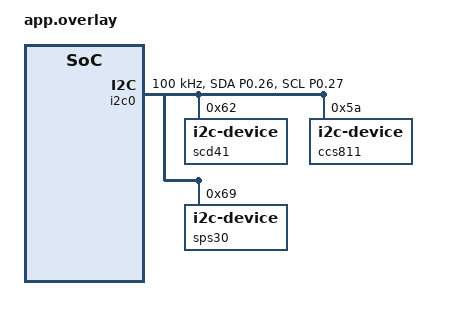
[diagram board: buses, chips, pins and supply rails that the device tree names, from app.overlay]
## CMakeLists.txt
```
cmake_minimum_required(VERSION 3.20.0)

# ---------------------------------------------------------------------------
# Devicetree Overlay
# ---------------------------------------------------------------------------
# Explicitly tell Zephyr to use our overlay file so it doesn't get lost
# when building with namespaced board targets like nrf52840dk/nrf52840
set(DTC_OVERLAY_FILE ${CMAKE_CURRENT_SOURCE_DIR}/app.overlay)

find_package(Zephyr REQUIRED HINTS $ENV{ZEPHYR_BASE})
project(ssns_sensor_node)

# ---------------------------------------------------------------------------
# Core sources — always compiled regardless of sensor mode
# ---------------------------------------------------------------------------
target_sources(app PRIVATE
    src/main.c
    src/network.c
    src/storage.c
)

# NOTE: src/sensors.c (old monolithic simulation) is intentionally NOT listed
# here. It is kept on disk for reference only. The new sensor_sim.c replaces
# it. If both were compiled, there would be duplicate symbol linker errors.

# ---------------------------------------------------------------------------
# Sensor backend — only one mode is compiled at a time
# ---------------------------------------------------------------------------
target_sources_ifdef(CONFIG_SENSOR_MODE_SIMULATION app PRIVATE
    src/sensors/sensor_sim.c
)

target_sources_ifdef(CONFIG_SENSOR_MODE_HARDWARE app PRIVATE
    src/sensors/sensor_hw.c
    src/sensors/sensor_aggregator.c
)

# ---------------------------------------------------------------------------
# Hardware drivers — only compiled when their sensor is enabled
# ---------------------------------------------------------------------------
target_sources_ifdef(CONFIG_SENSOR_SCD41  app PRIVATE
    src/sensors/drivers/scd41_driver.c
)

target_sources_ifdef(CONFIG_SENSOR_CCS811 app PRIVATE
    src/sensors/drivers/ccs811_driver.c
)

target_sources_ifdef(CONFIG_SENSOR_SPS30  app PRIVATE
    src/sensors/drivers/sps30_driver.c
)

# ---------------------------------------------------------------------------
# Include paths
# ---------------------------------------------------------------------------
# src/            — for network.h, storage.h (they include sensors/sensor_interface.h)
# src/sensors/    — for sensor_interface.h, sensor_aggregator.h
# (drivers use #include "sensor_interface.h" via src/sensors/ path)
target_include_directories(app PRIVATE
    src
    src/sensors
    src/sensors/drivers
)
```

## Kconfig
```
# SPDX-License-Identifier: Apache-2.0
#
# SSNS Sensor Node — Kconfig
#
# Compile-time selection between simulation and real hardware sensors.
# This mirrors the Spring Boot "profile" concept: change the build flag,
# get a completely different sensor backend with zero runtime overhead.
#
# Build commands:
#   Simulation (default, no hardware needed):
#     west build -p always -b nrf52840dk/nrf52840
#
#   Real hardware (SCD41 + CCS811 + SPS30):
#     west build -p always -b nrf52840dk/nrf52840 \
#       -- -DCONFIG_SENSOR_MODE_HARDWARE=y \
#          -DEXTRA_CONF_FILE=prj_hw.conf

mainmenu "SSNS Sensor Node Configuration"

# ---------------------------------------------------------------------------
# Sensor Mode Selection
# ---------------------------------------------------------------------------

choice SENSOR_MODE
	prompt "Sensor Data Source"
	default SENSOR_MODE_SIMULATION
	help
	  Select the sensor data acquisition backend.

	  Simulation mode runs without any physical hardware and is always
	  safe to use during development, CI, or demonstrations.

	  Hardware mode reads real I2C sensors (SCD41, CCS811, SPS30)
	  connected to the nRF52840 DK. The boards/*.overlay file must
	  match your actual wiring.

config SENSOR_MODE_SIMULATION
	bool "Simulation Mode"
	help
	  Realistic random-walk simulation:
	    - Baseline drift for all channels
	    - CO2 and PM2.5 spike trend events (1% chance per cycle)
	    - 15% per-sensor failure injection with health mask updates
	    - Authentic blocking latencies (100ms Temp, 10s CO2, 1s PM/TVOC)
	  No I2C hardware required.

config SENSOR_MODE_HARDWARE
	bool "Hardware Mode (SCD41 + CCS811 + SPS30)"
	select I2C
	select SENSOR
	help
	  Read real I2C sensors:
	    - SCD41:  CO2, Temperature, Humidity (0x62)
	    - CCS811: eCO2, TVOC              (0x5A or 0x5B)
	    - SPS30:  PM1.0/2.5/4.0/10.0     (0x69)

	  Background polling threads keep the sensor cache fresh so that
	  sensor_backend_read() returns instantly without blocking.

	  Requires boards/nrf52840dk_nrf52840.overlay for I2C pin config.
	  Run alongside prj_hw.conf for Kconfig driver enables.

endchoice

# ---------------------------------------------------------------------------
# Hardware-only settings (invisible in simulation mode)
# ---------------------------------------------------------------------------

if SENSOR_MODE_HARDWARE

config SENSOR_SCD41
    bool "Enable SCD41 CO2/Temp/Hum Sensor"
    default y
    depends on SENSOR_MODE_HARDWARE
    help
      Enables the custom raw I2C driver for SCD41.

config SENSOR_CCS811
    bool "Enable CCS811 Air Quality Sensor"
    default y
    depends on SENSOR_MODE_HARDWARE
    help
      Enables the custom raw I2C driver for TVOC and eCO2.

config SENSOR_CCS811_WARMUP_SECONDS
	int "CCS811 warm-up period (seconds)"
	default 1200
	range 60 3600
	depends on SENSOR_CCS811
	help
	  How long after boot to discard CCS811 readings as unreliable.
	  AMS datasheet: 20 minutes (1200 s) per power cycle.
	  During warm-up the health bit stays 0 and values are -999.

config SENSOR_SPS30
	bool "Enable SPS30 (PM1.0 / PM2.5 / PM4.0 / PM10)"
	default y
	help
	  Sensirion SPS30 laser particulate matter sensor.
	  I2C address: 0x69.  Measurement interval: 1 second.
	  Auto fan-cleaning every 168 h causes a 10 s data blackout;
	  the driver holds the last good reading during this window.

# ---------------------------------------------------------------------------
# Aggregator polling thread stacks
# ---------------------------------------------------------------------------

config SENSOR_AGGREGATOR_SCD41_STACK
	int "SCD41 polling thread stack (bytes)"
	default 1536
	range 1024 4096
	help
	  Stack for the background SCD41 I2C polling thread.
	  Increase to 2048 if debug logging is enabled.

config SENSOR_AGGREGATOR_CCS811_STACK
	int "CCS811 polling thread stack (bytes)"
	default 1536
	range 1024 4096
	depends on SENSOR_CCS811

config SENSOR_AGGREGATOR_SPS30_STACK
	int "SPS30 polling thread stack (bytes)"
	default 1536
	range 1024 4096
	depends on SENSOR_SPS30

endif # SENSOR_MODE_HARDWARE

source "Kconfig.zephyr"
```

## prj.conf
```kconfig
# Logging & Shell
CONFIG_LOG=y
CONFIG_LOG_DEFAULT_LEVEL=3
CONFIG_SHELL=y
CONFIG_OPENTHREAD_SHELL=y

# OpenThread Network Configuration
CONFIG_NETWORKING=y
CONFIG_NET_L2_OPENTHREAD=y
CONFIG_OPENTHREAD_MANUAL_START=n
CONFIG_OPENTHREAD_NETWORK_NAME="WSN01"
CONFIG_OPENTHREAD_PANID=4661
CONFIG_OPENTHREAD_XPANID="1111111122222222"
CONFIG_OPENTHREAD_CHANNEL=15
CONFIG_OPENTHREAD_NETWORKKEY="112233445566778899aabbccddeeff00"
# Allow sensor nodes to act as Routers (Full Thread Devices).
# This enables the Thread Leader to promote sensors to Router role,
# allowing them to relay packets for each other and form a true mesh.
# CONFIG_OPENTHREAD_MTD is explicitly omitted.

# Enable IPv6
CONFIG_NET_IPV6=y
CONFIG_NET_IPV6_ND=y
CONFIG_NET_IPV6_NBR_CACHE=y

# CoAP Protocol Stack
CONFIG_COAP=y
CONFIG_NET_UDP=y
CONFIG_NET_SOCKETS=y
CONFIG_NET_SOCKETS_POSIX_NAMES=y


# Increase heap for JSON formatting
CONFIG_HEAP_MEM_POOL_SIZE=2048

# FPU (for float math)
CONFIG_FPU=y
CONFIG_CBPRINTF_FP_SUPPORT=y

# Hardware RNG (for realistic sensor drift)
CONFIG_ENTROPY_GENERATOR=y

# Non-Volatile Storage (NVS) & Settings
CONFIG_FLASH=y
CONFIG_FLASH_PAGE_LAYOUT=y
CONFIG_NVS=y
CONFIG_MPU_ALLOW_FLASH_WRITE=y
CONFIG_SETTINGS=y
CONFIG_SETTINGS_RUNTIME=y

# Increase Stack Sizes (Prevent MPU Faults)
CONFIG_MAIN_STACK_SIZE=4096
CONFIG_SYSTEM_WORKQUEUE_STACK_SIZE=4096

# CBOR Encoding
CONFIG_ZCBOR=y

# ==============================================================================
# SENSOR MODE SWITCH
# ==============================================================================
# By default, the firmware builds in SIMULATION mode (no hardware required).
# To build for REAL HARDWARE, uncomment all the lines in the block below.
# (If you prefer not to edit this file, you can instead build from the command line:
#  west build -p always -b nrf52840dk/nrf52840 -- -DCONFIG_SENSOR_MODE_HARDWARE=y -DEXTRA_CONF_FILE=prj_hw.conf)

# --- Hardware Mode Block ---
CONFIG_SENSOR_MODE_HARDWARE=y
CONFIG_I2C=y
CONFIG_SENSOR=y
CONFIG_MAIN_STACK_SIZE=6144
CONFIG_SYSTEM_WORKQUEUE_STACK_SIZE=4096
CONFIG_I2C_SHELL=y
```

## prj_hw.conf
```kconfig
# Hardware Sensor Mode — Additional Kconfig
#
# Include this file alongside prj.conf when building in hardware mode.
# It activates the I2C subsystem and the three upstream Zephyr sensor drivers.
# Keeping these separate from prj.conf ensures simulation builds remain clean
# (no I2C subsystem, no sensor drivers, no devicetree requirements).
#
# Build command (hardware mode):
#   west build -p always -b nrf52840dk/nrf52840 \
#     -- -DCONFIG_SENSOR_MODE_HARDWARE=y \
#        -DEXTRA_CONF_FILE=prj_hw.conf
#
# Build command (simulation mode, default):
#   west build -p always -b nrf52840dk/nrf52840

# I2C bus subsystem
CONFIG_I2C=y

# Zephyr sensor subsystem (enables sensor_sample_fetch / sensor_channel_get)
CONFIG_SENSOR=y

# Sensirion SCD4x upstream driver (handles SCD40, SCD41, SCD42, SCD43, SCD44)
# Manages periodic measurement, CRC-8 validation, and channel decoding.
CONFIG_SCD4X=y

# AMS CCS811 upstream driver (handles nWAKE GPIO if wake-gpios in DTS)
# Runs in Mode 1 (1 measurement/second).
CONFIG_CCS811=y

# Sensirion SPS30 upstream driver
# Handles start/stop measurement, data-ready polling, and PM channel decoding.
CONFIG_SPS30=y

# Larger main stack for hardware mode
# (sensor driver init + aggregator thread startup needs more headroom)
CONFIG_MAIN_STACK_SIZE=6144
CONFIG_SYSTEM_WORKQUEUE_STACK_SIZE=4096
```

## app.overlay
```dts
/*
 * nRF52840 DK I2C Sensor Overlay — SSNS Sensor Node
 *
 * Sensors on I2C bus 0 (i2c0):
 *   SCD41  @ 0x62 — CO2, Temperature, Humidity
 *   CCS811 @ 0x5A — eCO2, TVOC
 *   SPS30  @ 0x69 — PM1.0, PM2.5, PM4.0, PM10
 *
 * Default I2C pins: P0.26 (SDA), P0.27 (SCL)
 * To use different pins: change the port/pin numbers in NRF_PSEL macros.
 *   NRF_PSEL(TWIM_SDA, port, pin)
 *   NRF_PSEL(TWIM_SCL, port, pin)
 *
 * Pull-ups:
 *   bias-pull-up enables the nRF52840's internal ~13 kΩ pull-ups as a
 *   fallback. For reliable 400 kHz operation, add external 4.7 kΩ resistors.
 *   At 100 kHz (STANDARD mode) the internal pull-ups are usually sufficient.
 *
 * CCS811 nWAKE GPIO:
 *   If your CCS811 module does NOT have nWAKE permanently tied to GND:
 *     1. Wire a GPIO (e.g. P0.03) to the CCS811 nWAKE pin.
 *     2. Uncomment the wake-gpios line in the ccs811 node below.
 *     3. Change pin 3 to match your actual wiring.
 *     4. Set CONFIG_SENSOR_CCS811_WAKE_GPIO=y in prj_hw.conf.
 *   The Zephyr CCS811 driver then handles GPIO toggling automatically.
 *
 *   If your breakout already ties nWAKE to GND (SparkFun, Adafruit),
 *   leave the wake-gpios line commented — no GPIO wiring needed.
 *
 * NOTE: This file uses the modern pinctrl system (NCS 2.x / Zephyr 3.x).
 * The legacy sda-pin / scl-pin properties are NOT used — they were
 * removed in NCS 2.0 and cause build errors.
 */

/* ---- Pin Control --------------------------------------------------------- */

&pinctrl {
	i2c0_default: i2c0_default {
		group1 {
			psels = <NRF_PSEL(TWIM_SDA, 0, 26)>,  /* P0.26 — SDA */
				<NRF_PSEL(TWIM_SCL, 0, 27)>;  /* P0.27 — SCL */
			bias-pull-up;
		};
	};

	i2c0_sleep: i2c0_sleep {
		group1 {
			psels = <NRF_PSEL(TWIM_SDA, 0, 26)>,
				<NRF_PSEL(TWIM_SCL, 0, 27)>;
			low-power-enable;
		};
	};
};

/* ---- I2C Bus ------------------------------------------------------------- */

&i2c0 {
	status = "okay";
	pinctrl-0 = <&i2c0_default>;
	pinctrl-1 = <&i2c0_sleep>;
	pinctrl-names = "default", "sleep";
	clock-frequency = <I2C_BITRATE_STANDARD>;  /* 100 kHz — reliable for all three sensors */

	/* ---- Sensirion SCD41 — CO2 / Temperature / Humidity --------------- */
	scd41: scd41@62 {
		compatible = "i2c-device";
		reg = <0x62>;
		/* No additional properties needed — SCD41 address is fixed */
	};

	/* ---- AMS CCS811 — eCO2 / TVOC ------------------------------------- */
	ccs811: ccs811@5a {
		compatible = "i2c-device";
		reg = <0x5a>;   /* Change to 0x5b if ADDR pin is pulled HIGH */
	};

	/* ---- Sensirion SPS30 — Particulate Matter ------------------------- */
	sps30: sps30@69 {
		compatible = "i2c-device";
		reg = <0x69>;
		/* No additional properties needed */
	};
};
```

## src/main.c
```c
#include <zephyr/kernel.h>
#include <zephyr/logging/log.h>
#include "sensors/sensor_interface.h"
#include "network.h"
#include "storage.h"

LOG_MODULE_REGISTER(main, LOG_LEVEL_INF);

/* Phase 2: Batch transmission configuration */
#define SAMPLE_INTERVAL_MS  6000   /* 6 seconds - respects SCD41 5.5s minimum */
#define TRANSMIT_INTERVAL_MS 30000 /* 30 seconds - batch of 5 samples */
#define BATCH_SIZE 5

/* Sample buffer for batch transmission */
static struct sensor_readings sample_buffer[BATCH_SIZE];
static uint32_t sample_timestamps[BATCH_SIZE];  /* Store actual timestamp for each sample */
static uint8_t sample_count = 0;
static int64_t last_sample_time = 0;
static int64_t last_transmit_time = 0;

int main(void)
{
    LOG_INF("Starting SSNS Sensor Node");

#ifdef CONFIG_SENSOR_MODE_SIMULATION
    LOG_INF("Sensor mode: SIMULATION (no hardware required)");
    LOG_INF("To switch to real sensors:");
    LOG_INF("  west build -p always -b nrf52840dk/nrf52840");
    LOG_INF("    -- -DCONFIG_SENSOR_MODE_HARDWARE=y");
    LOG_INF("       -DEXTRA_CONF_FILE=prj_hw.conf");
#else
    LOG_INF("Sensor mode: HARDWARE (SCD41 + CCS811 + SPS30)");
#endif

    storage_init();
    network_init();

    /* Initialise the sensor backend (simulation or hardware). */
    struct sensor_context *sensor_ctx = NULL;
    int rc = sensor_backend_init(&sensor_ctx);

    if (rc < 0) {
        LOG_ERR("FATAL: Sensor backend init failed (rc=%d). Halting.", rc);
        return -1;
    }

    /* Allow OpenThread to attach and sensors to warm up. */
    k_sleep(K_SECONDS(5));

    int consecutive_failures = 0;

    while (1) {
        /* ----------------------------------------------------------------
         * High Integrity: Silent Start (60 s warm-up)
         * In hardware mode the sensor aggregator threads start filling the
         * cache immediately, so this window guarantees fresh data before
         * the first CoAP transmission.
         * ---------------------------------------------------------------- */
        uint32_t uptime_ms = k_uptime_get_32();
        if (uptime_ms < 60000) {
            LOG_INF("System warming up... (%u/60s)", uptime_ms / 1000);
            k_sleep(K_SECONDS(10));
            continue;
        }

        int64_t current_time = k_uptime_get();

        /* ----------------------------------------------------------------
         * Phase 2: Sample every 6 seconds
         * ---------------------------------------------------------------- */
        if ((current_time - last_sample_time) >= SAMPLE_INTERVAL_MS) {
            /* 1. Read sensors */
            struct sensor_readings readings;
            sensor_backend_read(sensor_ctx, &readings);

            /* 2. Store sample in buffer with actual timestamp */
            if (sample_count < BATCH_SIZE) {
                sample_buffer[sample_count] = readings;
                sample_timestamps[sample_count] = k_uptime_get_32();  /* Capture actual timestamp */
                sample_count++;
                LOG_DBG("Sample %d/%d collected | Health: 0x%02x",
                        sample_count, BATCH_SIZE, readings.health_mask);
            }

            last_sample_time = current_time;
        }

        /* ----------------------------------------------------------------
         * Phase 2: Transmit batch every 30 seconds (or when buffer full)
         * ---------------------------------------------------------------- */
        bool should_transmit = (sample_count >= BATCH_SIZE) ||
                               ((current_time - last_transmit_time) >= TRANSMIT_INTERVAL_MS && sample_count > 0);

        if (should_transmit) {
            /* Phase 3: Always encode batch first (needed for both send and store) */
            rc = network_encode_coap_batch(sample_buffer, sample_timestamps, sample_count);
            if (rc != 0) {
                LOG_ERR("Failed to encode batch, skipping transmission");
                sample_count = 0;
                last_transmit_time = current_time;
                k_sleep(K_SECONDS(1));
                continue;
            }
            
            /* Phase 3: Always attempt transmission to detect gateway recovery */
            LOG_INF("Transmitting batch of %d samples...", sample_count);
            rc = network_send_coap_batch(sample_buffer, sample_timestamps, sample_count);

            if (rc < 0) {
                consecutive_failures++;
                LOG_WRN("Batch transmission failed (%d/3). Saving to RAM queue...",
                        consecutive_failures);
                storage_save_packet(network_get_last_payload(),
                                    network_get_last_payload_len());

                if (consecutive_failures >= 3) {
                    network_reset_stack();
                    consecutive_failures = 0;
                }

            } else if (rc == 0) {
                consecutive_failures = 0;
                LOG_INF("Batch sent successfully!");

                /* Phase 3: Forward all stored packets when gateway is back online */
                int queue_size = storage_get_queue_usage();
                if (queue_size > 0) {
                    LOG_INF("Gateway online, forwarding %d stored packets...", queue_size);
                    int forwarded = storage_forward_all_packets();
                    LOG_INF("Forwarded %d packets from storage", forwarded);
                }
            }

            LOG_INF("Offline Queue: %d / %d packets | Batch sent: %d samples",
                    storage_get_queue_usage(),
                    storage_get_queue_capacity(),
                    sample_count);

            /* Reset batch buffer */
            sample_count = 0;
            last_transmit_time = current_time;
        }

        /* Sleep for 1 second to check timing conditions frequently */
        k_sleep(K_SECONDS(1));
    }

    return 0;
}
```

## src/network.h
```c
#ifndef NETWORK_H
#define NETWORK_H

#include <stdbool.h>
#include <stddef.h>
#include <stdint.h>

/*
 * network.h depends on sensor_interface.h for the sensor_readings struct.
 * Both simulation and hardware backends produce the same struct, so the
 * network layer is completely independent of the sensor implementation.
 */
#include "sensors/sensor_interface.h"

/**
 * @brief Initialise the OpenThread networking subsystem.
 * Injects the hardcoded dataset (year-2033 timestamp), resolves node/boot IDs,
 * and opens the UDP socket bound to the gateway IPv6 address.
 * @return 0 on success, negative error code on failure.
 */
int network_init(void);

/**
 * @brief Encode @p r into a CBOR array payload and send it via CoAP/UDP.
 * Waits up to 5 seconds for a CoAP ACK from the gateway.
 * On success, the encoded payload is stored internally for NVS save-on-failure.
 * @param r  Sensor readings (from either simulation or hardware backend).
 * @return 0 on ACK received, -ETIMEDOUT if no ACK, negative errno on send error.
 */
int network_send_coap(const struct sensor_readings *r);

/**
 * @brief Encode a batch of sensor readings into CBOR payload (without sending).
 * Phase 3: Used for offline storage - encodes batch into internal buffer.
 * @param samples     Array of sensor readings.
 * @param timestamps  Array of actual timestamps (ms) for each sample.
 * @param count       Number of samples in the batch (1-5).
 * @return 0 on success, negative errno on encoding failure.
 */
int network_encode_coap_batch(const struct sensor_readings *samples, const uint32_t *timestamps, uint8_t count);

/**
 * @brief Encode a batch of sensor readings into a CBOR payload and send via CoAP/UDP.
 * Phase 2: Batch transmission - sends multiple samples in a single packet.
 * Waits up to 5 seconds for a CoAP ACK from the gateway.
 * @param samples     Array of sensor readings.
 * @param timestamps  Array of actual timestamps (ms) for each sample.
 * @param count       Number of samples in the batch (1-5).
 * @return 0 on ACK received, -ETIMEDOUT if no ACK, negative errno on send error.
 */
int network_send_coap_batch(const struct sensor_readings *samples, const uint32_t *timestamps, uint8_t count);

/**
 * @brief Re-send a raw binary CBOR payload from the NVS offline queue.
 * Used to drain buffered packets when network connectivity is restored.
 * @param payload  Binary CBOR array bytes.
 * @param len      Payload size.
 * @return 0 on ACK received, negative errno on failure.
 */
int network_send_raw_payload(const uint8_t *payload, size_t len);

/**
 * @brief Force-restart the Thread radio stack to trigger a new Parent Search.
 * Called after 3 consecutive transmission failures.
 */
void network_reset_stack(void);

/**
 * @brief Get the last CBOR payload that was encoded by network_send_coap().
 * Used by main.c to save the payload to the NVS queue on ACK timeout.
 * @return Pointer to internal static payload buffer.
 */
const uint8_t *network_get_last_payload(void);

/**
 * @brief Get the byte length of the last encoded CBOR payload.
 * @return Size in bytes.
 */
size_t network_get_last_payload_len(void);

/**
 * @brief Check if the gateway is currently reachable.
 * Phase 3: Gateway connectivity tracking based on recent send success/failures.
 * @return true if gateway is online, false if offline (3+ consecutive failures).
 */
bool network_is_gateway_reachable(void);

#endif /* NETWORK_H */
```

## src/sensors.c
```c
#include "sensors.h"
#include <zephyr/kernel.h>
#include <zephyr/random/random.h>
#include <stdint.h>

/**
 * Return a pseudo-random float in [lo, hi].
 * Uses Zephyr's sys_rand32_get() seeded from the hardware RNG.
 */
static float rand_float(float lo, float hi)
{
    uint32_t r = sys_rand32_get();
    float normalised = (float)r / (float)UINT32_MAX;   /* 0.0 – 1.0 */
    return lo + normalised * (hi - lo);
}

static float clampf(float v, float lo, float hi)
{
    if (v < lo) return lo;
    if (v > hi) return hi;
    return v;
}

void sensor_service_init(struct sensor_state *s)
{
    s->base_temp  = rand_float(18.0f, 26.0f);
    s->base_hum   = rand_float(30.0f, 60.0f);
    s->base_co2   = rand_float(400.0f, 800.0f);
    s->base_tvoc  = rand_float(0.0f, 100.0f);
    s->base_pm25  = rand_float(0.0f, 10.0f);
    s->base_light = rand_float(100.0f, 800.0f);
    s->trend_active = false;
    s->trend_ticks  = 0;
    s->co2_slope    = 0.0f;
    s->pm25_slope   = 0.0f;
}

void sensor_service_read(struct sensor_state *s,
                         float *temp, float *hum,
                         float *co2,  float *tvoc, float *eco2,
                         float *pm1,  float *pm25, float *pm4, float *pm10,
                         float *light)
{
    /* --- slow baseline drift --- */
    s->base_temp  += rand_float(-0.01f, 0.01f);
    s->base_hum   += rand_float(-0.05f, 0.05f);
    s->base_tvoc  += rand_float(-0.2f,  0.2f);
    s->base_light += rand_float(-0.5f,  0.5f);

    /* --- trend events (1 % chance to start per tick) --- */
    if (!s->trend_active && rand_float(0.0f, 1.0f) < 0.01f) {
        s->trend_active = true;
        s->trend_ticks  = (int)rand_float(30.0f, 90.0f);
        if (rand_float(0.0f, 1.0f) < 0.5f) {
            /* CO2 spike */
            s->co2_slope  = rand_float(5.0f, 20.0f);
            s->pm25_slope = rand_float(0.0f, 0.1f);
        } else {
            /* PM2.5 spike */
            s->co2_slope  = rand_float(-1.0f, 1.0f);
            s->pm25_slope = rand_float(0.2f, 1.0f);
        }
    }

    if (s->trend_active) {
        s->base_co2  += s->co2_slope;
        s->base_pm25 += s->pm25_slope;
        s->trend_ticks--;
        if (s->trend_ticks <= 0) {
            s->trend_active = false;
        }
    } else {
        s->base_co2  += rand_float(-0.5f, 0.5f);
        s->base_pm25 += rand_float(-0.02f, 0.02f);
    }

    /* --- clamp baselines --- */
    s->base_temp  = clampf(s->base_temp,  10.0f, 35.0f);
    s->base_hum   = clampf(s->base_hum,   20.0f, 80.0f);
    s->base_co2   = clampf(s->base_co2,  400.0f, 2000.0f);
    s->base_tvoc  = clampf(s->base_tvoc,   0.0f, 1000.0f);
    s->base_pm25  = clampf(s->base_pm25,   0.0f, 100.0f);
    s->base_light = clampf(s->base_light,  0.0f, 2000.0f);

    /* --- final readings with small sensor noise --- */
    *temp  = s->base_temp  + rand_float(-0.05f, 0.05f);
    *hum   = s->base_hum   + rand_float(-0.2f,  0.2f);
    *co2   = s->base_co2   + rand_float(-1.0f,  1.0f);
    *tvoc  = s->base_tvoc  + rand_float(-0.5f,  0.5f);
    *eco2  = clampf(400.0f + (*tvoc * 0.5f) + rand_float(-10.0f, 10.0f), 400.0f, 5000.0f);
    *pm25  = s->base_pm25  + rand_float(-0.1f,  0.1f);
    *pm1   = clampf(*pm25 * 0.4f + rand_float(-0.05f, 0.05f), 0.0f, 100.0f);
    *pm4   = *pm25 * 1.2f + rand_float(-0.05f, 0.05f);
    *pm10  = *pm25 * 1.5f + rand_float(-0.1f,  0.1f);
    *light = clampf(s->base_light + rand_float(-2.0f, 2.0f), 0.0f, 2000.0f);

    /* --- High Integrity: Realistic Latency & Chaos Mode --- */
    s->health_mask = 0xFF; // Start with all sensors OK

    // 1. Temperature Latency (100ms)
    k_msleep(100);
    if (rand_float(0, 100) < 15.0f) { // 15% failure chance
        s->health_mask &= ~(1 << 0);
        *temp = -999.0f;
        *hum = -999.0f;
    }

    // 2. CO2 Latency (10,000ms - The "Slow" Sensor)
    k_msleep(10000);
    if (rand_float(0, 100) < 15.0f) { // 15% failure chance
        s->health_mask &= ~(1 << 1);
        *co2 = -999.0f;
        *eco2 = -999.0f;
    }

    // 3. Particulate Matter Latency (1,000ms)
    k_msleep(1000);
    if (rand_float(0, 100) < 15.0f) { // 15% failure chance
        s->health_mask &= ~(1 << 2);
        *pm1 = -999.0f;
        *pm25 = -999.0f;
        *pm4 = -999.0f;
        *pm10 = -999.0f;
    }

    // 4. TVOC Latency (1,000ms)
    k_msleep(1000);
    if (rand_float(0, 100) < 15.0f) { // 15% failure chance
        s->health_mask &= ~(1 << 3);
        *tvoc = -999.0f;
    }
}
```

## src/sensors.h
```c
#ifndef SENSORS_H
#define SENSORS_H

#include <stdbool.h>

struct sensor_state {
    /* Baselines (drift slowly over time) */
    float base_temp;
    float base_hum;
    float base_co2;
    float base_tvoc;
    float base_pm25;
    float base_light;
    /* Trend simulation */
    bool  trend_active;
    int   trend_ticks;
    float co2_slope;
    float pm25_slope;

    /* High Integrity Health Status (Bitmask)
     * Bit 0: Temp/Hum (MCP9808)
     * Bit 1: CO2 (SCD41)
     * Bit 2: PM (SPS30)
     * Bit 3: TVOC (CCS811)
     * 1 = OK, 0 = FAULT
     */
    unsigned char health_mask;
};

/**
 * @brief Initialize sensor baselines with realistic starting values.
 */
void sensor_service_init(struct sensor_state *s);

/**
 * @brief Read simulated sensor values.
 */
void sensor_service_read(struct sensor_state *s,
                         float *temp, float *hum,
                         float *co2,  float *tvoc, float *eco2,
                         float *pm1,  float *pm25, float *pm4, float *pm10,
                         float *light);

#endif /* SENSORS_H */
```

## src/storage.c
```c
#include "storage.h"
#include "network.h"  /* Phase 3: For network_send_raw_payload */
#include <zephyr/kernel.h>
#include <zephyr/logging/log.h>
#include <zephyr/fs/nvs.h>
#include <zephyr/storage/flash_map.h>
#include <stdio.h>
#include <string.h>

LOG_MODULE_REGISTER(storage, LOG_LEVEL_DBG);

// Phase 3.1: Simplified - use RAM queue only (no Flash persistence)
// This avoids Settings/NVS conflicts with OpenThread
// 50 packets × 1024 bytes = 50 KB RAM (acceptable for nRF52840 with 256 KB RAM)
#define QUEUE_MAX_ITEMS 50
#define PACKET_SLOT_SIZE 1024  /* Large enough for 5-sample batches (~821 bytes) */

static uint8_t packet_queue[QUEUE_MAX_ITEMS][PACKET_SLOT_SIZE];
static uint16_t packet_sizes[QUEUE_MAX_ITEMS];
static uint16_t queue_head = 0;  /* Next write position */
static uint16_t queue_tail = 0;  /* Next read position */
static uint16_t queue_count = 0; /* Number of packets in queue */

int storage_init(void)
{
    /* Phase 3.1: Simple RAM-based queue (no Flash conflicts) */
    queue_head = 0;
    queue_tail = 0;
    queue_count = 0;
    
    LOG_INF("RAM-based packet queue initialized: %d slots × %d bytes = %d KB",
            QUEUE_MAX_ITEMS, PACKET_SLOT_SIZE, (QUEUE_MAX_ITEMS * PACKET_SLOT_SIZE) / 1024);
    LOG_INF("Capacity: %d packets = %.1f hours offline coverage",
            QUEUE_MAX_ITEMS, (QUEUE_MAX_ITEMS * 30.0) / 3600.0);

    return 0;
}

int storage_save_packet(const uint8_t *payload, size_t len)
{
    if (len > PACKET_SLOT_SIZE) {
        LOG_ERR("Packet too large: %zu bytes (max %d)", len, PACKET_SLOT_SIZE);
        return -EINVAL;
    }

    /* Circular buffer - overwrite oldest when full */
    if (queue_count >= QUEUE_MAX_ITEMS) {
        LOG_WRN("Queue full (%d packets), overwriting oldest", QUEUE_MAX_ITEMS);
        queue_tail = (queue_tail + 1) % QUEUE_MAX_ITEMS;
        queue_count--;
    }

    /* Save packet to RAM */
    memcpy(packet_queue[queue_head], payload, len);
    packet_sizes[queue_head] = len;
    queue_head = (queue_head + 1) % QUEUE_MAX_ITEMS;
    queue_count++;

    LOG_INF("Saved packet to RAM queue (slot %d, %d/%d packets)",
            (queue_head - 1 + QUEUE_MAX_ITEMS) % QUEUE_MAX_ITEMS,
            queue_count, QUEUE_MAX_ITEMS);
    
    return 0;
}

int storage_read_oldest_packet(uint8_t *buf, size_t max_len, size_t *out_len, uint16_t *out_id)
{
    if (queue_count == 0) {
        return -ENOENT; /* Queue empty */
    }

    size_t len = packet_sizes[queue_tail];
    if (len > max_len) {
        len = max_len;
    }

    memcpy(buf, packet_queue[queue_tail], len);
    *out_len = len;
    *out_id = queue_tail;  /* Use slot index as ID */
    
    return 0;
}

int storage_delete_packet(uint16_t id)
{
    if (queue_count == 0) {
        return -ENOENT;
    }

    /* Remove from tail (oldest) */
    queue_tail = (queue_tail + 1) % QUEUE_MAX_ITEMS;
    queue_count--;
    
    LOG_DBG("Deleted packet from slot %d (%d packets remaining)", id, queue_count);
    return 0;
}

int storage_get_queue_usage(void)
{
    return queue_count;
}

int storage_get_queue_capacity(void)
{
    return QUEUE_MAX_ITEMS;
}

/* Phase 3: Forward all stored packets to gateway */
int storage_forward_all_packets(void)
{
    int forwarded = 0;
    int failed = 0;
    uint8_t packet_buf[1024];
    size_t packet_len;
    uint16_t packet_id;
    
    int queue_size = storage_get_queue_usage();
    if (queue_size == 0) {
        LOG_DBG("No packets to forward");
        return 0;
    }
    
    LOG_INF("Starting to forward %d stored packets...", queue_size);
    
    while (storage_get_queue_usage() > 0) {
        /* Read oldest packet */
        int rc = storage_read_oldest_packet(packet_buf, sizeof(packet_buf), 
                                           &packet_len, &packet_id);
        if (rc != 0) {
            LOG_ERR("Failed to read packet: %d", rc);
            failed++;
            break;
        }
        
        /* Send packet via network */
        rc = network_send_raw_payload(packet_buf, packet_len);
        if (rc != 0) {
            LOG_WRN("Failed to forward packet ID %d, stopping (rc=%d)", 
                    packet_id, rc);
            failed++;
            break;
        }
        
        /* Delete successfully forwarded packet */
        storage_delete_packet(packet_id);
        forwarded++;
        
        /* Small delay to avoid overwhelming the network */
        k_sleep(K_MSEC(100));
        
        /* Log progress every 100 packets */
        if (forwarded % 100 == 0) {
            LOG_INF("Forwarded %d/%d packets...", forwarded, queue_size);
        }
    }
    
    if (forwarded > 0) {
        LOG_INF("Forwarding complete: %d sent, %d failed, %d remaining",
                forwarded, failed, storage_get_queue_usage());
    }
    
    return forwarded;
}
```

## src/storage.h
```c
#ifndef STORAGE_H
#define STORAGE_H

#include <stdint.h>
#include <stdbool.h>
#include <stddef.h>
#include <sys/types.h>

/**
 * @brief Initialize the NVS file system on the storage partition.
 * @return 0 on success, or a negative error code.
 */
int storage_init(void);

/**
 * @brief Save a CBOR payload to Flash memory.
 * @param payload Binary array.
 * @param len Size of the payload.
 * @return 0 on success, or negative error code.
 */
int storage_save_packet(const uint8_t *payload, size_t len);

/**
 * @brief Read the oldest pending packet from Flash memory.
 * @param buf Buffer to store the read payload.
 * @param max_len Size of the buffer.
 * @param out_len Length of the data read.
 * @param out_id The NVS ID of the packet (useful for deleting).
 * @return 0 on success, -ENOENT if no packets are pending, or negative error code.
 */
int storage_read_oldest_packet(uint8_t *buf, size_t max_len, size_t *out_len, uint16_t *out_id);

/**
 * @brief Delete a packet from Flash memory.
 * @param id The NVS ID of the packet.
 * @return 0 on success.
 */
int storage_delete_packet(uint16_t id);

/**
 * @brief Get the current number of packets stored in the offline queue.
 */
int storage_get_queue_usage(void);

/**
 * @brief Get the maximum number of packets the queue can hold.
 */
int storage_get_queue_capacity(void);

/**
 * @brief Forward all stored packets to the gateway.
 * Reads packets from Flash, sends them via network, and deletes on success.
 * Stops on first failure to preserve packet ordering.
 * @return Number of packets successfully forwarded, or negative error code.
 */
int storage_forward_all_packets(void);

#endif /* STORAGE_H */
```
